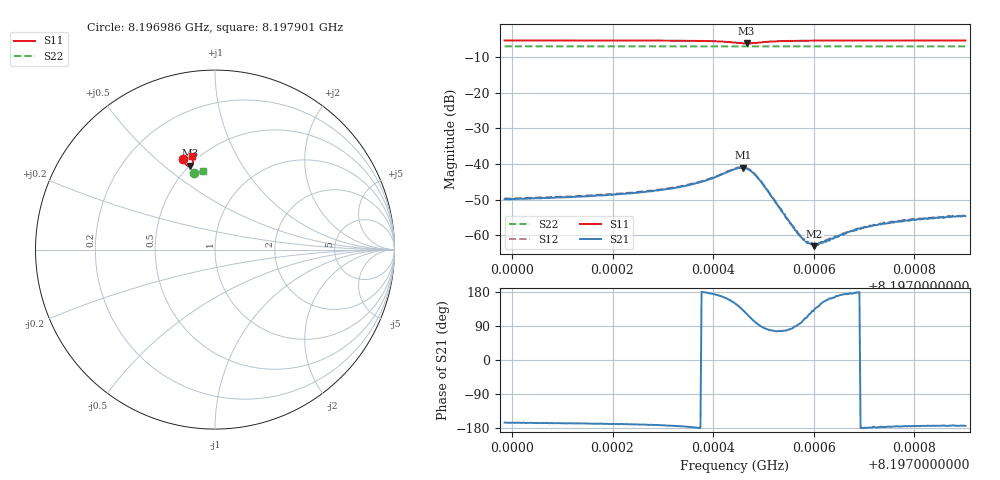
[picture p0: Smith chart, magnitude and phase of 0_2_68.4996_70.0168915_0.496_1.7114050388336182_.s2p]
#  HZ  S  RI  R  50.00
! Rohde & Schwarz Vector Network Analyzer
! Rohde-Schwarz,ZNB20-2Port,1311601062101988,3.16
! Created: UTC 3/20/2024, 4:48:34 PM
! freq[Hz]  re:S11  im:S11  re:S21  im:S21  re:S12  im:S12  re:S22  im:S22
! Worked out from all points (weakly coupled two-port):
!   401 points, 8.196986 GHz to 8.197901 GHz, reference 50 ohm
!   highest |S21| = -41.04 dB at 8.197459 GHz (marker M1); lowest = -63.0 dB at 8.197601 GHz (marker M2)
!   lowest |S11| = -6.3 dB at 8.197466 GHz (marker M3), VSWR 2.90, Z = 25.2 + j30.9 ohm
!   |S11| at or under -10 dB: nowhere
!   |S22| runs from -7.1 to -7.0 dB; largest |S21 - S12| = 0.00044
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8.1969855e9  -0.1803 0.505  -0.00311 -0.000831  -0.00322 -0.000681  -0.1154 0.4287
8.1971389e9  -0.1681 0.5085  -0.0034 -0.000764  -0.00351 -0.000625  -0.1069 0.4308
8.1972259e9  -0.16 0.5103  -0.00375 -0.000736  -0.00387 -0.000565  -0.1021 0.4317
8.1972923e9  -0.1528 0.5113  -0.00422 -0.000601  -0.00436 -0.000426  -0.0983 0.4325
8.1973679e9  -0.1406 0.5104  -0.00539 -0.000132  -0.00551 0.000107  -0.094 0.4332
8.1974022e9  -0.1319 0.5061  -0.0064 0.000719  -0.0065 0.001  -0.0919 0.4334
8.1974435e9  -0.1226 0.4854  -0.00731 0.00433  -0.00728 0.00472  -0.0896 0.4332
8.1974595e9  -0.1301 0.4713  -0.00583 0.00668  -0.00563 0.007  -0.089 0.4328
8.1974663e9  -0.1372 0.4671  -0.00459 0.00729  -0.00432 0.0076  -0.0888 0.4329
8.1974778e9  -0.1506 0.4665  -0.00223 0.00736  -0.00194 0.00755  -0.0885 0.433
8.1974915e9  -0.1624 0.4743  -0.0002 0.00605  2.27e-05 0.00616  -0.0881 0.4335
8.1975488e9  -0.1624 0.5022  0.000288 0.0016  0.000328 0.00162  -0.085 0.4347
8.197574e9  -0.1584 0.507  -0.000126 0.000946  -9.1e-05 0.000972  -0.0834 0.435
8.1975831e9  -0.157 0.5081  -0.000298 0.000795  -0.000256 0.000836  -0.0828 0.4351
8.1975969e9  -0.1549 0.5095  -0.000486 0.000589  -0.00042 0.000629  -0.0821 0.4352
8.1976014e9  -0.1543 0.51  -0.000492 0.000505  -0.000495 0.000585  -0.0817 0.4353
8.197606e9  -0.1536 0.5104  -0.000561 0.000486  -0.000585 0.000475  -0.0815 0.4353
8.1976701e9  -0.1463 0.5142  -0.00112 0.000108  -0.00115 0.000106  -0.078 0.436
8.1976907e9  -0.1441 0.5151  -0.00125 2.21e-05  -0.00125 6.11e-05  -0.0767 0.436
8.1977503e9  -0.1384 0.5171  -0.00149 -0.000105  -0.00153 -5.91e-05  -0.0734 0.4366
8.1978006e9  -0.1342 0.5184  -0.00164 -0.000164  -0.00169 -0.0001  -0.0705 0.4371
8.1979014e9  -0.126 0.5204  -0.00184 -0.000194  -0.00187 -0.000144  -0.0649 0.4377
